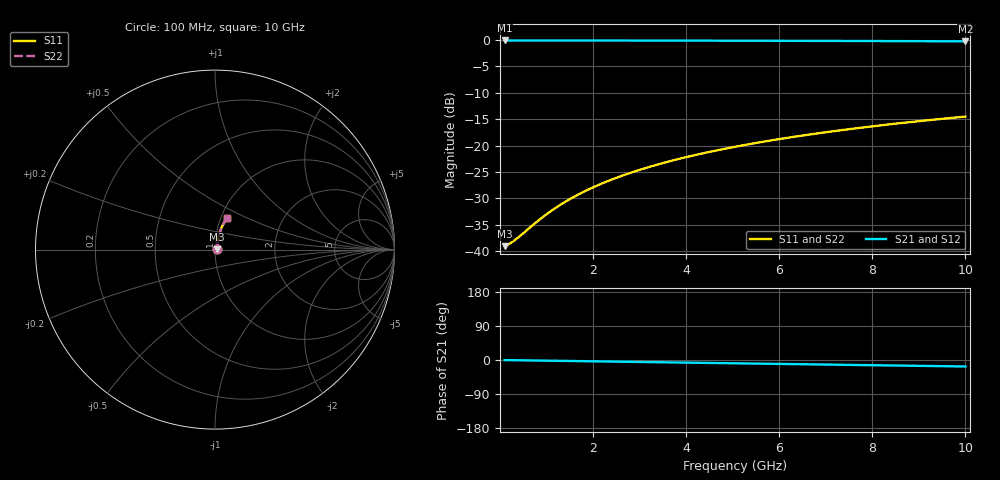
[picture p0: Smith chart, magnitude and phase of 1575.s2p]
# Hz S RI R 50.00
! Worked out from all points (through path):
!   100 points, 100 MHz to 10 GHz, reference 50 ohm
!   highest |S21| = -0.10 dB at 100 MHz (marker M1); lowest = -0.3 dB at 10 GHz (marker M2)
!   group delay of S21, straight-line fit = 4.76 ps
!   lowest |S11| = -39.1 dB at 100 MHz (marker M3), VSWR 1.02, Z = 51.1 + j0.194 ohm
!   |S11| at or under -10 dB: start of sweep to end of sweep
!   |S22| runs from -39.1 to -14.5 dB; largest |S21 - S12| = 0
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1e8  0.011 0.00189  0.989 -0.00299  0.989 -0.00299  0.011 0.00189
2e8  0.0111 0.00379  0.9889 -0.00597  0.9889 -0.00597  0.0111 0.00379
3e8  0.0111 0.00568  0.9888 -0.00896  0.9888 -0.00896  0.0111 0.00568
4e8  0.0112 0.00757  0.9888 -0.0119  0.9888 -0.0119  0.0112 0.00757
8e8  0.0116 0.0151  0.9883 -0.0239  0.9883 -0.0239  0.0116 0.0151
1.1e9  0.012 0.0208  0.9879 -0.0328  0.9879 -0.0328  0.012 0.0208
1.4e9  0.0125 0.0264  0.9874 -0.0417  0.9874 -0.0417  0.0125 0.0264
1.6e9  0.0129 0.0302  0.987 -0.0477  0.987 -0.0477  0.0129 0.0302
1.8e9  0.0133 0.034  0.9865 -0.0536  0.9865 -0.0536  0.0133 0.034
2.1e9  0.014 0.0396  0.9857 -0.0625  0.9857 -0.0625  0.014 0.0396
2.5e9  0.0151 0.0471  0.9845 -0.0744  0.9845 -0.0744  0.0151 0.0471
2.9e9  0.0164 0.0545  0.9831 -0.0862  0.9831 -0.0862  0.0164 0.0545
3.4e9  0.0182 0.0637  0.9811 -0.1009  0.9811 -0.1009  0.0182 0.0637
3.8e9  0.0199 0.0711  0.9792 -0.1126  0.9792 -0.1126  0.0199 0.0711
4.2e9  0.0217 0.0784  0.9772 -0.1243  0.9772 -0.1243  0.0217 0.0784
4.6e9  0.0237 0.0856  0.975 -0.1359  0.975 -0.1359  0.0237 0.0856
5.1e9  0.0265 0.0946  0.9719 -0.1504  0.9719 -0.1504  0.0265 0.0946
5.9e9  0.0314 0.1087  0.9664 -0.1733  0.9664 -0.1733  0.0314 0.1087
6.7e9  0.037 0.1226  0.9602 -0.1959  0.9602 -0.1959  0.037 0.1226
7.5e9  0.0432 0.1361  0.9533 -0.2182  0.9533 -0.2182  0.0432 0.1361
8.4e9  0.0509 0.1508  0.9447 -0.2428  0.9447 -0.2428  0.0509 0.1508
1e10  0.0665 0.1758  0.9274 -0.2854  0.9274 -0.2854  0.0665 0.1758
